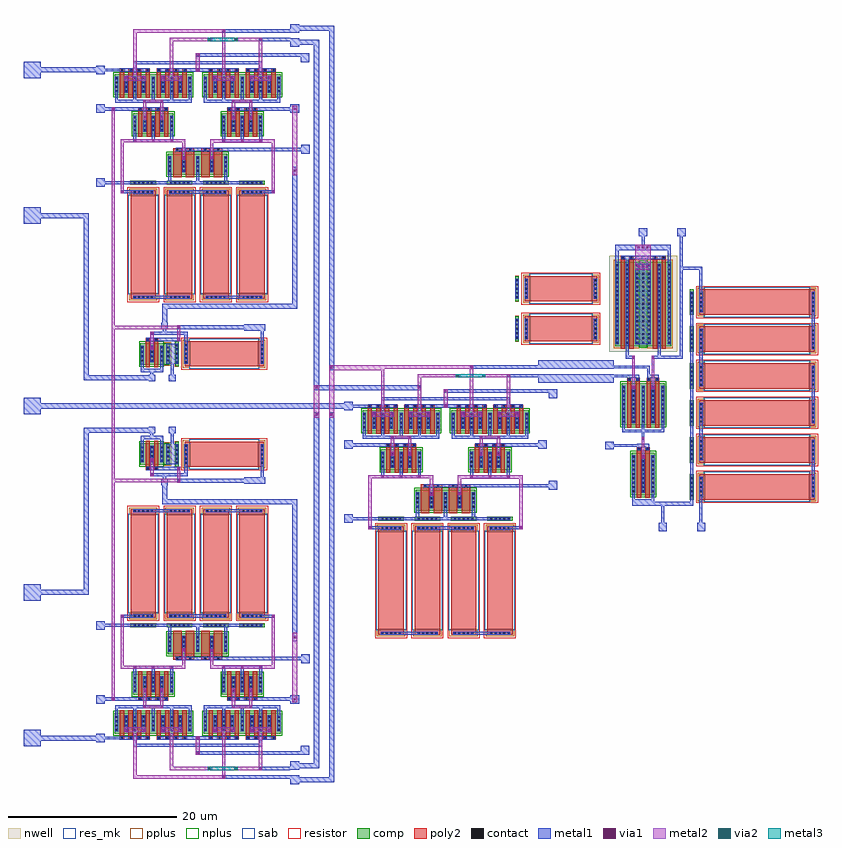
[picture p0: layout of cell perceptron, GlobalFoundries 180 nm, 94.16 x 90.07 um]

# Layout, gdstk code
from math import pi, radians
import gdstk
lib = gdstk.Library(unit=1e-6, precision=5e-09)
def R(c, l, rs):  # rectangles x0, y0, x1, y1
    for r in rs: c.add(gdstk.rectangle(r[:2], r[2:], *l))
def A(c, l, x, y, w, h, nx, ny, dx, dy):  # array of equal rectangles
    R(c, l, [(x+i*dx, y+j*dy, x+i*dx+w, y+j*dy+h) for i in range(nx) for j in range(ny)])
def P(c, l, *ps):  # polygons
    for p in ps: c.add(gdstk.Polygon(p, *l))
nwell = (21, 0)
comp = (22, 0)
poly2 = (30, 0)
pplus = (31, 0)
nplus = (32, 0)
contact = (33, 0)
metal1 = (34, 0)
via1 = (35, 0)
metal2 = (36, 0)
via2 = (38, 0)
metal3 = (42, 0)
sab = (49, 0)
resistor = (62, 0)
res_mk = (110, 5)

via_dev = lib.new_cell('via_dev')
R(via_dev, metal1, [(0,0,0.4,0.4)])
R(via_dev, via1, [(0.07,0.07,0.33,0.33)])
R(via_dev, metal2, [(0,0,0.4,0.4)])

nfet = lib.new_cell('nfet')
R(nfet, comp, [(-0.42,0,0,2.5), (0,0,1.9,2.5), (1.9,0,2.32,2.5), (2.32,0,3.03,2.5)])
R(nfet, poly2, [(0.19,-0.3,0.69,2.8), (1.21,-0.3,1.71,2.8), (0.19,2.8,0.69,3.16), (1.21,2.8,1.71,3.16)])
R(nfet, pplus, [(2.32,-0.17,3.2,2.67)])
R(nfet, nplus, [(-0.59,-0.24,2.32,2.74)])
A(nfet, contact, -0.32, 0.375, 0.22, 0.22, 3, 4, 1.16, 0.51)
A(nfet, contact, 2.71, 0.375, 0.22, 0.22, 1, 4, 0, 0.51)
R(nfet, contact, [(0.33,2.87,0.55,3.09), (1.35,2.87,1.57,3.09)])
A(nfet, metal1, -0.4, 0.295, 0.38, 1.91, 3, 1, 1.16, 0)
R(nfet, metal1, [(2.63,0.295,3.01,2.205), (0.25,2.79,0.63,3.17), (1.27,2.79,1.65,3.17)])

ppolyf_u_high_rs_resisto = lib.new_cell('ppolyf_u_high_Rs_resistor')
R(ppolyf_u_high_rs_resisto, comp, [(-1.76,0,-1.34,3)])
R(ppolyf_u_high_rs_resisto, poly2, [(-0.64,0,8.74,3)])
R(ppolyf_u_high_rs_resisto, pplus, [(-0.82,-0.18,0,3.18), (8.1,-0.18,8.92,3.18), (-1.78,-0.02,-1.32,3.02)])
A(ppolyf_u_high_rs_resisto, contact, -1.66, 0.37, 0.22, 0.22, 1, 5, 0, 0.51)
A(ppolyf_u_high_rs_resisto, contact, -0.57, 0.37, 0.22, 0.22, 1, 5, 0, 0.51)
A(ppolyf_u_high_rs_resisto, contact, 8.45, 0.37, 0.22, 0.22, 1, 5, 0, 0.51)
R(ppolyf_u_high_rs_resisto, metal1, [(-1.74,0.29,-1.36,2.71), (-0.65,0.29,-0.27,2.71), (8.37,0.29,8.75,2.71)])
R(ppolyf_u_high_rs_resisto, sab, [(-0.1,-0.28,8.2,3.28)])
R(ppolyf_u_high_rs_resisto, resistor, [(-1.04,-0.4,9.14,3.4)])
R(ppolyf_u_high_rs_resisto, res_mk, [(0,0,8.1,3)])

cg_amp_tia = lib.new_cell('cg_amp_tia')
R(cg_amp_tia, metal1, [(3.54,-0.73,4.325,0.03), (1.135,-0.72,1.92,0.04), (3.22,1.305,4.67,3.725), (0.84,4.02,2.24,4.4), (2.24,4.02,4.9,4.4), (12.47,5.26,13.255,6.02), (14.18,5.26,14.965,6.02), (2.635,5.44,3.42,6.2)])
R(cg_amp_tia, via1, [(1.405,3.105,1.665,3.365), (4.575,4.12,4.835,4.38), (1.405,4.795,1.665,5.055), (4.575,5.52,4.835,5.78)])
R(cg_amp_tia, metal2, [(1.35,3.005,1.73,5.13), (4.52,4.02,4.9,5.865)])
cg_amp_tia.add(gdstk.FlexPath([(12.47,5.64),(4.52,5.64)], 0.45, ends="flush", simple_path=True, layer=34, datatype=0))  # metal1
cg_amp_tia.add(gdstk.FlexPath([(0.38,1.525),(0.38,0.515),(2.7,0.515),(2.7,1.525)], 0.38, ends="flush", simple_path=True, layer=34, datatype=0))  # metal1
cg_amp_tia.add(gdstk.FlexPath([(1.35,4.925),(5.57,4.925),(5.57,3.725)], 0.38, ends="flush", simple_path=True, layer=34, datatype=0))  # metal1
cg_amp_tia.add(gdstk.FlexPath([(1.525,0.325),(1.525,0.04)], 0.38, ends="flush", simple_path=True, layer=34, datatype=0))  # metal1
cg_amp_tia.add(gdstk.FlexPath([(3.945,1.305),(3.945,0.03)], 0.38, ends="flush", simple_path=True, layer=34, datatype=0))  # metal1
cg_amp_tia.add(gdstk.FlexPath([(3.03,5.115),(3.03,5.44)], 0.38, ends="flush", simple_path=True, layer=34, datatype=0))  # metal1
cg_amp_tia.add(gdstk.FlexPath([(14.59,3.725),(14.59,5.26)], 0.38, ends="flush", simple_path=True, layer=34, datatype=0))  # metal1
cg_amp_tia.add(gdstk.Reference(nfet, (0.59,1.23)))
cg_amp_tia.add(gdstk.Reference(ppolyf_u_high_rs_resisto, (6.03,1.015)))
cg_amp_tia.add(gdstk.Label('V_bias', (12.91,5.68), layer=34, texttype=10))
cg_amp_tia.add(gdstk.Label('V_out', (2.73,6.035), layer=34, texttype=10))
cg_amp_tia.add(gdstk.Label('I_in', (1.445,-0.465), layer=34, texttype=10))
cg_amp_tia.add(gdstk.Label('VSS', (3.86,-0.49), layer=34, texttype=10))
cg_amp_tia.add(gdstk.Label('V_ref', (14.44,5.57), layer=34, texttype=10))

nfet_1 = lib.new_cell('nfet$1')
R(nfet_1, comp, [(-0.42,0,0,2.5), (0,0,2.9,2.5), (2.9,0,3.32,2.5)])
R(nfet_1, poly2, [(0.19,-0.3,1.19,2.8), (1.71,-0.3,2.71,2.8), (0.19,2.8,1.19,3.16), (1.71,2.8,2.71,3.16)])
R(nfet_1, nplus, [(-0.59,-0.24,3.49,2.74)])
A(nfet_1, contact, -0.32, 0.375, 0.22, 0.22, 3, 4, 1.66, 0.51)
R(nfet_1, contact, [(0.58,2.87,0.8,3.09), (2.1,2.87,2.32,3.09)])
A(nfet_1, metal1, -0.4, 0.295, 0.38, 1.91, 3, 1, 1.66, 0)
R(nfet_1, metal1, [(0.5,2.79,0.88,3.17), (2.02,2.79,2.4,3.17)])

nfet_2 = lib.new_cell('nfet$2')
R(nfet_2, comp, [(-0.42,0,0,2.5), (0,0,3.94,2.5), (3.94,0,4.36,2.5)])
A(nfet_2, poly2, 0.19, -0.3, 0.5, 3.1, 4, 1, 1.02, 0)
A(nfet_2, poly2, 0.19, 2.8, 0.5, 0.36, 4, 1, 1.02, 0)
R(nfet_2, nplus, [(-0.59,-0.24,4.53,2.74)])
A(nfet_2, contact, -0.32, 0.375, 0.22, 0.22, 1, 4, 0, 0.51)
A(nfet_2, contact, 0.84, 0.375, 0.22, 0.22, 3, 4, 1.02, 0.51)
A(nfet_2, contact, 4.04, 0.375, 0.22, 0.22, 1, 4, 0, 0.51)
A(nfet_2, contact, 0.33, 2.87, 0.22, 0.22, 4, 1, 1.02, 0)
A(nfet_2, metal1, 0.76, 0.295, 0.38, 1.91, 3, 1, 1.02, 0)
A(nfet_2, metal1, 0.25, 2.79, 0.38, 0.38, 4, 1, 1.02, 0)
R(nfet_2, metal1, [(-0.4,0.295,-0.02,2.205), (3.96,0.295,4.34,2.205)])

c_ppolyf_u_high_rs_resisto = lib.new_cell('ppolyf_u_high_Rs_resistor$1')
R(c_ppolyf_u_high_rs_resisto, comp, [(-1.76,0,-1.34,3)])
R(c_ppolyf_u_high_rs_resisto, poly2, [(-0.64,0,12.19,3)])
R(c_ppolyf_u_high_rs_resisto, pplus, [(-0.82,-0.18,0,3.18), (11.55,-0.18,12.37,3.18), (-1.78,-0.02,-1.32,3.02)])
A(c_ppolyf_u_high_rs_resisto, contact, -1.66, 0.37, 0.22, 0.22, 1, 5, 0, 0.51)
A(c_ppolyf_u_high_rs_resisto, contact, -0.57, 0.37, 0.22, 0.22, 1, 5, 0, 0.51)
A(c_ppolyf_u_high_rs_resisto, contact, 11.9, 0.37, 0.22, 0.22, 1, 5, 0, 0.51)
R(c_ppolyf_u_high_rs_resisto, metal1, [(-1.74,0.29,-1.36,2.71), (-0.65,0.29,-0.27,2.71), (11.82,0.29,12.2,2.71)])
R(c_ppolyf_u_high_rs_resisto, sab, [(-0.1,-0.28,11.65,3.28)])
R(c_ppolyf_u_high_rs_resisto, resistor, [(-1.04,-0.4,12.59,3.4)])
R(c_ppolyf_u_high_rs_resisto, res_mk, [(0,0,11.55,3)])

gilbert_multiplier_curre = lib.new_cell('gilbert_multiplier_current')
R(gilbert_multiplier_curre, metal1, [(-5.165,-0.265,1.555,0.115), (3.435,-0.265,10.155,0.115), (-0.865,12.205,5.855,12.585), (-9.52,13,-8.495,14.035), (-5.165,13.295,10.155,13.675), (14.745,16.925,15.76,17.96), (-0.115,17.22,5.105,17.6), (-9.52,21.765,-8.495,22.8), (13.485,21.765,14.51,22.8), (-8.495,22.03,-1.05,22.415), (6.04,22.03,13.485,22.415), (-9.52,26.33,-8.495,27.365), (-6.67,26.655,-3.23,27.035), (-2.31,26.655,7.3,27.035), (8.22,26.655,11.66,27.035), (14.715,27.78,15.74,28.84), (2.255,28.405,14.715,28.84), (13.485,29.6,14.51,30.635), (9.745,30.24,13.485,30.64), (5.405,31.26,13.48,31.66), (13.48,31.26,14.505,32.295)])
R(gilbert_multiplier_curre, via1, [(-6.585,12.265,-6.325,12.525), (11.32,12.265,11.58,12.525), (0.72,16.305,0.98,16.565), (4.035,16.305,4.295,16.565), (5.46,18.315,5.72,18.575), (7.63,18.315,7.89,18.575), (9.81,18.315,10.07,18.575), (-5.07,18.33,-4.81,18.59), (-2.9,18.33,-2.64,18.59), (-0.72,18.33,-0.46,18.59), (-3.925,21.1,-3.665,21.36), (-1.88,21.1,-1.62,21.36), (6.615,21.1,6.875,21.36), (8.66,21.1,8.92,21.36), (-3.925,23.03,-3.665,23.29), (-1.88,23.03,-1.62,23.29), (6.605,23.03,6.865,23.29), (8.65,23.03,8.91,23.29), (-6.11,25.74,-5.85,26), (-4.055,25.74,-3.795,26), (-1.75,25.74,-1.49,26), (0.3,25.74,0.56,26), (4.42,25.74,4.68,26), (6.475,25.74,6.735,26), (8.78,25.74,9.04,26), (10.83,25.74,11.09,26), (2.37,26.725,2.63,26.985), (2.34,28.48,2.6,28.74), (9.82,30.295,10.08,30.555), (5.46,31.34,5.72,31.6)])
R(gilbert_multiplier_curre, metal2, [(-6.65,12.22,-6.255,17.99), (11.25,12.22,11.645,17.99), (-3.98,20.935,-3.6,23.01), (-1.94,20.935,-1.56,23.01), (6.55,20.935,6.93,23.01), (8.59,20.935,8.97,23.01), (-3.98,23.01,-1.56,23.335), (6.55,23.01,8.97,23.335), (-6.23,25.595,-3.67,26.15), (-1.87,25.595,0.69,26.15), (4.305,25.595,6.865,26.15), (8.665,25.595,11.225,26.15), (2.255,26.655,2.735,28.84)])
R(gilbert_multiplier_curre, via2, [(3.78,30.295,4.04,30.555), (6.905,30.295,7.165,30.555)])
R(gilbert_multiplier_curre, metal3, [(3.71,30.24,7.23,30.64)])
gilbert_multiplier_curre.add(gdstk.FlexPath([(5.105,17.41),(14.745,17.41)], 0.38, ends="flush", simple_path=True, layer=34, datatype=0))  # metal1
gilbert_multiplier_curre.add(gdstk.FlexPath([(-0.825,14.725),(-0.825,13.675)], 0.38, ends="flush", simple_path=True, layer=34, datatype=0))  # metal1
gilbert_multiplier_curre.add(gdstk.FlexPath([(-5.165,13.485),(-8.985,13.485)], 0.35, ends="flush", simple_path=True, layer=34, datatype=0))  # metal1
gilbert_multiplier_curre.add(gdstk.FlexPath([(-4.95,19.535),(-4.95,18.455),(-0.59,18.455),(-0.59,19.535)], 0.35, ends="flush", simple_path=True, layer=34, datatype=0))  # metal1
gilbert_multiplier_curre.add(gdstk.FlexPath([(-2.77,19.535),(-2.77,18.63)], 0.35, ends="flush", simple_path=True, layer=34, datatype=0))  # metal1
gilbert_multiplier_curre.add(gdstk.FlexPath([(5.58,19.535),(5.58,18.455),(9.94,18.455),(9.94,19.535)], 0.35, ends="flush", simple_path=True, layer=34, datatype=0))  # metal1
gilbert_multiplier_curre.add(gdstk.FlexPath([(7.76,19.535),(7.76,18.63)], 0.35, ends="flush", simple_path=True, layer=34, datatype=0))  # metal1
gilbert_multiplier_curre.add(gdstk.FlexPath([(-7.13,24.16),(-7.13,23.16),(1.59,23.16),(1.59,24.16),(1.59,24.16)], 0.35, ends="flush", simple_path=True, layer=34, datatype=0))  # metal1
gilbert_multiplier_curre.add(gdstk.FlexPath([(3.4,24.16),(3.4,23.16),(12.12,23.16),(12.12,24.16),(12.12,24.16)], 0.35, ends="flush", simple_path=True, layer=34, datatype=0))  # metal1
gilbert_multiplier_curre.add(gdstk.FlexPath([(-4.95,24.16),(-4.95,23.335)], 0.35, ends="flush", simple_path=True, layer=34, datatype=0))  # metal1
gilbert_multiplier_curre.add(gdstk.FlexPath([(-2.77,24.16),(-2.77,23.335)], 0.35, ends="flush", simple_path=True, layer=34, datatype=0))  # metal1
gilbert_multiplier_curre.add(gdstk.FlexPath([(-0.59,24.16),(-0.59,23.335)], 0.35, ends="flush", simple_path=True, layer=34, datatype=0))  # metal1
gilbert_multiplier_curre.add(gdstk.FlexPath([(5.58,24.16),(5.58,23.335)], 0.35, ends="flush", simple_path=True, layer=34, datatype=0))  # metal1
gilbert_multiplier_curre.add(gdstk.FlexPath([(7.76,24.16),(7.76,23.335)], 0.35, ends="flush", simple_path=True, layer=34, datatype=0))  # metal1
gilbert_multiplier_curre.add(gdstk.FlexPath([(9.94,24.16),(9.94,23.335)], 0.35, ends="flush", simple_path=True, layer=34, datatype=0))  # metal1
gilbert_multiplier_curre.add(gdstk.FlexPath([(-6.67,26.845),(-8.495,26.845)], 0.35, ends="flush", simple_path=True, layer=34, datatype=0))  # metal1
gilbert_multiplier_curre.add(gdstk.FlexPath([(9.94,27.035),(9.94,27.71),(-4.95,27.71),(-4.95,27.035)], 0.35, ends="flush", simple_path=True, layer=34, datatype=0))  # metal1
gilbert_multiplier_curre.add(gdstk.FlexPath([(10.155,12.395),(11.645,12.395)], 0.35, ends="flush", simple_path=True, layer=34, datatype=0))  # metal1
gilbert_multiplier_curre.add(gdstk.FlexPath([(2.495,14.725),(2.495,13.675)], 0.38, ends="flush", simple_path=True, layer=34, datatype=0))  # metal1
gilbert_multiplier_curre.add(gdstk.FlexPath([(5.815,14.725),(5.815,13.675)], 0.38, ends="flush", simple_path=True, layer=34, datatype=0))  # metal1
gilbert_multiplier_curre.add(gdstk.FlexPath([(-5.165,12.395),(-6.65,12.395)], 0.35, ends="flush", simple_path=True, layer=34, datatype=0))  # metal1
gilbert_multiplier_curre.add(gdstk.FlexPath([(-4.95,26.15),(-4.95,31.46),(5.585,31.46),(5.585,26.15)], 0.4, ends="flush", simple_path=True, layer=36, datatype=0))  # metal2
gilbert_multiplier_curre.add(gdstk.FlexPath([(9.945,26.15),(9.945,30.44),(6.825,30.44)], 0.4, ends="flush", simple_path=True, layer=36, datatype=0))  # metal2
gilbert_multiplier_curre.add(gdstk.FlexPath([(-0.59,29.025),(-0.59,30.44),(4.225,30.44)], 0.4, ends="flush", simple_path=True, layer=36, datatype=0))  # metal2
gilbert_multiplier_curre.add(gdstk.FlexPath([(-6.455,17.99),(-6.455,18.46),(0.84,18.46),(0.84,16.235)], 0.4, ends="flush", simple_path=True, layer=36, datatype=0))  # metal2
gilbert_multiplier_curre.add(gdstk.FlexPath([(11.45,17.99),(11.45,18.445),(4.155,18.445),(4.155,16.26)], 0.4, ends="flush", simple_path=True, layer=36, datatype=0))  # metal2
gilbert_multiplier_curre.add(gdstk.FlexPath([(-0.59,26.15),(-0.59,29.025)], 0.4, ends="flush", simple_path=True, layer=36, datatype=0))  # metal2
gilbert_multiplier_curre.add(gdstk.Reference(nfet_1, (-0.615,14.43)))
gilbert_multiplier_curre.add(gdstk.Reference(nfet_1, (2.705,14.43)))
gilbert_multiplier_curre.add(gdstk.Reference(nfet_2, (-4.74,19.24)))
gilbert_multiplier_curre.add(gdstk.Reference(nfet_2, (5.79,19.24)))
gilbert_multiplier_curre.add(gdstk.Reference(nfet_2, (3.61,23.865)))
gilbert_multiplier_curre.add(gdstk.Reference(nfet_2, (7.97,23.865)))
gilbert_multiplier_curre.add(gdstk.Reference(nfet_2, (-6.92,23.865)))
gilbert_multiplier_curre.add(gdstk.Reference(nfet_2, (-2.56,23.865)))
gilbert_multiplier_curre.add(gdstk.Reference(c_ppolyf_u_high_rs_resisto, (3.145,11.935), rotation=3*pi/2))
gilbert_multiplier_curre.add(gdstk.Reference(c_ppolyf_u_high_rs_resisto, (7.445,11.935), rotation=3*pi/2))
gilbert_multiplier_curre.add(gdstk.Reference(c_ppolyf_u_high_rs_resisto, (-5.455,11.935), rotation=3*pi/2))
gilbert_multiplier_curre.add(gdstk.Reference(c_ppolyf_u_high_rs_resisto, (-1.155,11.935), rotation=3*pi/2))
gilbert_multiplier_curre.add(gdstk.Label('I_o_p', (13.985,30.395), layer=34, texttype=10))
gilbert_multiplier_curre.add(gdstk.Label('I_o_n', (13.985,31.42), layer=34, texttype=10))
gilbert_multiplier_curre.add(gdstk.Label('V_w_n', (14.185,28.615), layer=34, texttype=10))
gilbert_multiplier_curre.add(gdstk.Label('V_tail', (15.445,17.295), layer=34, texttype=10))
gilbert_multiplier_curre.add(gdstk.Label('VSS', (-9.275,13.465), layer=34, texttype=10))
gilbert_multiplier_curre.add(gdstk.Label('V_x_p', (-9.01,22.28), layer=34, texttype=10))
gilbert_multiplier_curre.add(gdstk.Label('V_x_n', (13.995,22.28), layer=34, texttype=10))
gilbert_multiplier_curre.add(gdstk.Label('V_w_p', (-9.01,26.845), layer=34, texttype=10))

c_ppolyf_u_high_rs_resisto_ = lib.new_cell('ppolyf_u_high_Rs_resistor$3')
R(c_ppolyf_u_high_rs_resisto_, comp, [(-1.76,0,-1.34,3)])
R(c_ppolyf_u_high_rs_resisto_, poly2, [(-0.64,0,7.94,3)])
R(c_ppolyf_u_high_rs_resisto_, pplus, [(-0.82,-0.18,0,3.18), (7.3,-0.18,8.12,3.18), (-1.78,-0.02,-1.32,3.02)])
A(c_ppolyf_u_high_rs_resisto_, contact, -1.66, 0.37, 0.22, 0.22, 1, 5, 0, 0.51)
A(c_ppolyf_u_high_rs_resisto_, contact, -0.57, 0.37, 0.22, 0.22, 1, 5, 0, 0.51)
A(c_ppolyf_u_high_rs_resisto_, contact, 7.65, 0.37, 0.22, 0.22, 1, 5, 0, 0.51)
R(c_ppolyf_u_high_rs_resisto_, metal1, [(-1.74,0.29,-1.36,2.71), (-0.65,0.29,-0.27,2.71), (7.57,0.29,7.95,2.71)])
R(c_ppolyf_u_high_rs_resisto_, sab, [(-0.1,-0.28,7.4,3.28)])
R(c_ppolyf_u_high_rs_resisto_, resistor, [(-1.04,-0.4,8.34,3.4)])
R(c_ppolyf_u_high_rs_resisto_, res_mk, [(0,0,7.3,3)])

nfet_3 = lib.new_cell('nfet$3')
R(nfet_3, comp, [(-0.42,0,0,5), (0,0,1.9,5), (1.9,0,2.32,5)])
R(nfet_3, poly2, [(0.19,-0.3,0.69,5.3), (1.21,-0.3,1.71,5.3), (0.19,5.3,0.69,5.66), (1.21,5.3,1.71,5.66)])
R(nfet_3, nplus, [(-0.59,-0.24,2.49,5.24)])
A(nfet_3, contact, -0.32, 0.35, 0.22, 0.22, 3, 9, 1.16, 0.51)
R(nfet_3, contact, [(0.33,5.37,0.55,5.59), (1.35,5.37,1.57,5.59)])
A(nfet_3, metal1, -0.4, 0.27, 0.38, 4.46, 3, 1, 1.16, 0)
R(nfet_3, metal1, [(0.25,5.29,0.63,5.67), (1.27,5.29,1.65,5.67)])

pfet = lib.new_cell('pfet')
R(pfet, nwell, [(-1.15,-0.69,3.78,10.69)])
R(pfet, comp, [(-0.46,0,0,10), (0,0,1.9,10), (1.9,0,2.36,10), (2.36,0,3.09,10)])
R(pfet, poly2, [(0.19,-0.3,0.69,10.3), (1.21,-0.3,1.71,10.3), (0.19,10.3,0.69,10.68), (1.21,10.3,1.71,10.68)])
R(pfet, pplus, [(-0.63,-0.24,2.36,10.24)])
R(pfet, nplus, [(2.36,-0.17,3.26,10.17)])
A(pfet, contact, -0.34, 0.3, 0.22, 0.22, 3, 19, 1.18, 0.51)
A(pfet, contact, 2.75, 0.3, 0.22, 0.22, 1, 19, 0, 0.51)
R(pfet, contact, [(0.33,10.38,0.55,10.6), (1.35,10.38,1.57,10.6)])
A(pfet, metal1, -0.42, 0.22, 0.38, 9.56, 3, 1, 1.18, 0)
R(pfet, metal1, [(2.67,0.22,3.05,9.78), (0.25,10.3,0.63,10.68), (1.27,10.3,1.65,10.68)])

c_ppolyf_u_high_rs_resisto__ = lib.new_cell('ppolyf_u_high_Rs_resistor$2')
R(c_ppolyf_u_high_rs_resisto__, comp, [(-1.76,0,-1.34,3)])
R(c_ppolyf_u_high_rs_resisto__, poly2, [(-0.64,0,13.04,3)])
R(c_ppolyf_u_high_rs_resisto__, pplus, [(-0.82,-0.18,0,3.18), (12.4,-0.18,13.22,3.18), (-1.78,-0.02,-1.32,3.02)])
A(c_ppolyf_u_high_rs_resisto__, contact, -1.66, 0.37, 0.22, 0.22, 1, 5, 0, 0.51)
A(c_ppolyf_u_high_rs_resisto__, contact, -0.57, 0.37, 0.22, 0.22, 1, 5, 0, 0.51)
A(c_ppolyf_u_high_rs_resisto__, contact, 12.75, 0.37, 0.22, 0.22, 1, 5, 0, 0.51)
R(c_ppolyf_u_high_rs_resisto__, metal1, [(-1.74,0.29,-1.36,2.71), (-0.65,0.29,-0.27,2.71), (12.67,0.29,13.05,2.71)])
R(c_ppolyf_u_high_rs_resisto__, sab, [(-0.1,-0.28,12.5,3.28)])
R(c_ppolyf_u_high_rs_resisto__, resistor, [(-1.04,-0.4,13.44,3.4)])
R(c_ppolyf_u_high_rs_resisto__, res_mk, [(0,0,12.4,3)])

tanh_ota = lib.new_cell('tanh_ota')
R(tanh_ota, metal1, [(5.35,-0.185,6.275,0.825), (9.89,-0.185,10.815,0.825), (2.175,2.795,9.425,3.27), (9.045,3.27,9.425,28.155), (23.455,3.83,23.835,10.63), (10.135,8.21,10.515,15.025), (-1.005,9.48,0.005,10.405), (2.785,9.74,4.185,10.155), (23.455,12.605,23.835,19.405), (10.135,16.985,10.515,23.775), (-1.005,17.405,0.005,18.33), (1.625,18,3.025,18.36), (3.945,18,5.345,18.36), (-1.005,19.105,0.005,20.03), (23.455,21.355,23.835,28.155), (2.565,21.95,4.405,31.51), (1.385,31.51,1.765,32.03), (0.875,32.03,6.095,32.41), (2.975,34.75,3.985,35.675), (7.5,34.755,8.51,35.68)])
P(tanh_ota, metal1, [(0.195,31.51),(0.195,33.725),(6.775,33.725),(6.775,31.51),(6.375,31.51),(6.375,33.09),(0.595,33.09),(0.595,31.51)],
  [(3.335,10.62),(3.335,11.545),(1.015,11.545),(1.015,12.6),(1.315,12.6),(1.315,11.845),(3.335,11.845),(3.335,12.6),(3.635,12.6),(3.635,11.845),(5.655,11.845),(5.655,12.6),(5.955,12.6),(5.955,11.545),(3.635,11.545),(3.635,10.62)])
A(tanh_ota, via1, 2.805, 31.035, 0.26, 0.26, 3, 2, 0.52, 2.27)
R(tanh_ota, via1, [(3.36,8.465,3.62,8.725), (3.36,10.68,3.62,10.94), (2.195,16.735,2.455,16.995), (4.515,16.735,4.775,16.995), (2.195,20.27,2.455,20.53), (4.515,20.27,4.775,20.53)])
P(tanh_ota, via1, [(3.53,8.56),(3.53,8.56),(3.53,8.56),(3.53,8.56)],
  [(2.365,16.83),(2.365,16.83),(2.365,16.83),(2.365,16.83)],
  [(4.685,16.83),(4.685,16.83),(4.685,16.83),(4.685,16.83)])
R(tanh_ota, metal2, [(3.295,8.37,3.675,8.8), (2.13,16.64,2.51,17.07), (4.45,16.64,4.83,17.07), (2.565,30.795,4.405,33.725)])
tanh_ota.add(gdstk.FlexPath([(3.485,33.725),(3.485,34.755)], 0.38, ends="flush", simple_path=True, layer=34, datatype=0))  # metal1
tanh_ota.add(gdstk.FlexPath([(5.57,20.415),(8.005,20.415),(8.005,35.005)], 0.35, ends="flush", simple_path=True, layer=34, datatype=0))  # metal1
tanh_ota.add(gdstk.FlexPath([(5.8,2.795),(5.8,0.64)], 0.38, ends="flush", simple_path=True, layer=34, datatype=0))  # metal1
tanh_ota.add(gdstk.FlexPath([(10.325,3.83),(10.325,0.67)], 0.35, ends="flush", simple_path=True, layer=34, datatype=0))  # metal1
tanh_ota.add(gdstk.FlexPath([(8.18,30.955),(10.325,30.955),(10.325,28.155)], 0.35, ends="flush", simple_path=True, layer=34, datatype=0))  # metal1
tanh_ota.add(gdstk.FlexPath([(5.395,21.95),(5.395,20.415),(4.49,20.415)], 0.35, ends="flush", simple_path=True, layer=34, datatype=0))  # metal1
tanh_ota.add(gdstk.FlexPath([(1.575,21.95),(1.575,20.415),(2.47,20.415),(2.47,20.415)], 0.35, ends="flush", simple_path=True, layer=34, datatype=0))  # metal1
tanh_ota.add(gdstk.FlexPath([(4.135,18.36),(4.135,19.255),(0.005,19.255)], 0.3, ends="flush", simple_path=True, layer=34, datatype=0))  # metal1
tanh_ota.add(gdstk.FlexPath([(2.785,9.95),(0,9.95)], 0.35, ends="flush", simple_path=True, layer=34, datatype=0))  # metal1
tanh_ota.add(gdstk.FlexPath([(2.325,4.34),(2.325,3.42),(4.645,3.42),(4.645,4.34),(4.645,4.34)], 0.3, ends="flush", simple_path=True, layer=34, datatype=0))  # metal1
tanh_ota.add(gdstk.FlexPath([(1.625,18.18),(0,18.18)], 0.3, ends="flush", simple_path=True, layer=34, datatype=0))  # metal1
tanh_ota.add(gdstk.FlexPath([(2.32,17.07),(2.32,19.27),(2.32,20.59)], 0.3, ends="flush", simple_path=True, layer=36, datatype=0))  # metal2
tanh_ota.add(gdstk.FlexPath([(4.64,17.07),(4.64,19.27),(4.64,20.59)], 0.3, ends="flush", simple_path=True, layer=36, datatype=0))  # metal2
tanh_ota.add(gdstk.FlexPath([(3.485,8.8),(3.485,11),(3.485,11)], 0.3, ends="flush", simple_path=True, layer=36, datatype=0))  # metal2
tanh_ota.add(gdstk.Reference(nfet_3, (1.375,12.33)))
tanh_ota.add(gdstk.Reference(nfet_3, (3.695,12.33)))
tanh_ota.add(gdstk.Reference(nfet_3, (2.535,4.07)))
tanh_ota.add(gdstk.Reference(pfet, (6.345,21.73), rotation=pi, x_reflection=True))
tanh_ota.add(gdstk.Reference(pfet, (0.625,21.73)))
tanh_ota.add(gdstk.Reference(c_ppolyf_u_high_rs_resisto__, (10.785,3.54)))
tanh_ota.add(gdstk.Reference(c_ppolyf_u_high_rs_resisto__, (10.785,7.92)))
tanh_ota.add(gdstk.Reference(c_ppolyf_u_high_rs_resisto__, (10.785,12.315)))
tanh_ota.add(gdstk.Reference(c_ppolyf_u_high_rs_resisto__, (10.785,16.695)))
tanh_ota.add(gdstk.Reference(c_ppolyf_u_high_rs_resisto__, (10.785,21.065)))
tanh_ota.add(gdstk.Reference(c_ppolyf_u_high_rs_resisto__, (10.785,25.445)))
tanh_ota.add(gdstk.Label('VDD', (3.715,35.015), layer=34, texttype=10))
tanh_ota.add(gdstk.Label('V_out', (8.005,35.215), layer=34, texttype=10))
tanh_ota.add(gdstk.Label('VSS', (5.735,0.205), layer=34, texttype=10))
tanh_ota.add(gdstk.Label('V_ref', (10.36,0.355), layer=34, texttype=10))
tanh_ota.add(gdstk.Label('V_in_p', (-0.5,17.865), layer=34, texttype=10))
tanh_ota.add(gdstk.Label('V_in_n', (-0.5,19.565), layer=34, texttype=10))
tanh_ota.add(gdstk.Label('V_bias', (-0.5,9.94), layer=34, texttype=10))

perceptron = lib.new_cell('perceptron')
R(perceptron, metal1, [(3.97,19.655,5.97,21.655), (3.97,36.91,5.97,38.91), (30.1,50.78,32.595,51.54), (3.97,59.01,5.97,61.01), (64.945,62.78,73.905,63.8), (64.94,64.42,73.905,65.455), (30.1,68.95,32.595,69.71), (3.97,81.58,5.97,83.58), (3.97,98.835,5.97,100.835)])
R(perceptron, metal2, [(38.36,58.59,38.96,62.485), (40.145,58.59,40.745,64.84)])
perceptron.add(gdstk.FlexPath([(36.09,88.375),(36.09,71.815),(20.66,71.815),(20.66,69.89)], 0.6, ends="flush", simple_path=True, layer=34, datatype=0))  # metal1
perceptron.add(gdstk.FlexPath([(12.57,99.835),(5.97,99.835)], 0.6, ends="flush", simple_path=True, layer=34, datatype=0))  # metal1
perceptron.add(gdstk.FlexPath([(36.09,32.115),(36.09,48.675),(20.66,48.675),(20.66,50.6)], 0.6, ends="flush", simple_path=True, layer=34, datatype=0))  # metal1
perceptron.add(gdstk.FlexPath([(12.57,20.655),(5.97,20.655)], 0.6, ends="flush", simple_path=True, layer=34, datatype=0))  # metal1
perceptron.add(gdstk.FlexPath([(18.765,63.35),(11.365,63.35),(11.365,82.58),(5.97,82.58)], 0.6, ends="flush", simple_path=True, layer=34, datatype=0))  # metal1
perceptron.add(gdstk.FlexPath([(18.765,57.14),(11.365,57.14),(11.365,37.91),(5.97,37.91)], 0.6, ends="flush", simple_path=True, layer=34, datatype=0))  # metal1
perceptron.add(gdstk.FlexPath([(41.94,60.01),(5.97,60.01)], 0.6, ends="flush", simple_path=True, layer=34, datatype=0))  # metal1
perceptron.add(gdstk.FlexPath([(36.6,103.105),(38.66,103.105),(38.66,62.185),(51.07,62.185)], 0.6, ends="flush", simple_path=True, layer=34, datatype=0))  # metal1
perceptron.add(gdstk.FlexPath([(36.6,17.39),(38.66,17.39),(38.66,59.255)], 0.6, ends="flush", simple_path=True, layer=34, datatype=0))  # metal1
perceptron.add(gdstk.FlexPath([(36.595,15.73),(40.445,15.73),(40.445,59.255)], 0.6, ends="flush", simple_path=True, layer=34, datatype=0))  # metal1
perceptron.add(gdstk.FlexPath([(36.595,104.765),(40.445,104.765),(40.445,64.23)], 0.6, ends="flush", simple_path=True, layer=34, datatype=0))  # metal1
perceptron.add(gdstk.FlexPath([(36.09,87.375),(36.09,95.58)], 0.6, ends="flush", simple_path=True, layer=36, datatype=0))  # metal2
perceptron.add(gdstk.FlexPath([(22.15,69.33),(14.57,69.33),(14.57,95.4),(14.57,95.4)], 0.4, ends="flush", simple_path=True, layer=36, datatype=0))  # metal2
perceptron.add(gdstk.FlexPath([(36.09,33.115),(36.09,24.91)], 0.6, ends="flush", simple_path=True, layer=36, datatype=0))  # metal2
perceptron.add(gdstk.FlexPath([(22.15,51.16),(14.57,51.16),(14.57,25.09),(14.57,25.09)], 0.4, ends="flush", simple_path=True, layer=36, datatype=0))  # metal2
perceptron.add(gdstk.FlexPath([(14.57,51.36),(14.57,69.13)], 0.4, ends="flush", simple_path=True, layer=36, datatype=0))  # metal2
perceptron.add(gdstk.FlexPath([(40.745,64.555),(46.31,64.555)], 0.6, ends="flush", simple_path=True, layer=36, datatype=0))  # metal2
perceptron.add(gdstk.Reference(via_dev, (35.89,87.675)))
perceptron.add(gdstk.Reference(via_dev, (35.9,95.04)))
perceptron.add(gdstk.Reference(via_dev, (14.37,95.005)))
perceptron.add(gdstk.Reference(cg_amp_tia, (17.63,56.8), x_reflection=True))
perceptron.add(gdstk.Reference(gilbert_multiplier_curre, (22.09,47.505), x_reflection=True))
perceptron.add(gdstk.Reference(via_dev, (35.89,32.815), x_reflection=True))
perceptron.add(gdstk.Reference(via_dev, (35.9,25.45), x_reflection=True))
perceptron.add(gdstk.Reference(via_dev, (14.37,25.485), x_reflection=True))
perceptron.add(gdstk.Reference(cg_amp_tia, (17.63,63.69)))
perceptron.add(gdstk.Reference(gilbert_multiplier_curre, (22.09,72.985)))
perceptron.add(gdstk.Reference(via_dev, (38.465,58.805)))
perceptron.add(gdstk.Reference(via_dev, (40.25,64.36)))
perceptron.add(gdstk.Reference(via_dev, (40.25,58.805)))
perceptron.add(gdstk.Reference(via_dev, (38.465,62.005)))
perceptron.add(gdstk.Reference(via_dev, (50.67,62.015)))
perceptron.add(gdstk.Reference(gilbert_multiplier_curre, (51.46,33.16)))
perceptron.add(gdstk.Reference(c_ppolyf_u_high_rs_resisto_, (63.98,72.405)))
perceptron.add(gdstk.Reference(tanh_ota, (73.9,45.375)))
perceptron.add(gdstk.Reference(c_ppolyf_u_high_rs_resisto_, (63.98,67.655)))

lib.write_gds('perceptron.gds')
